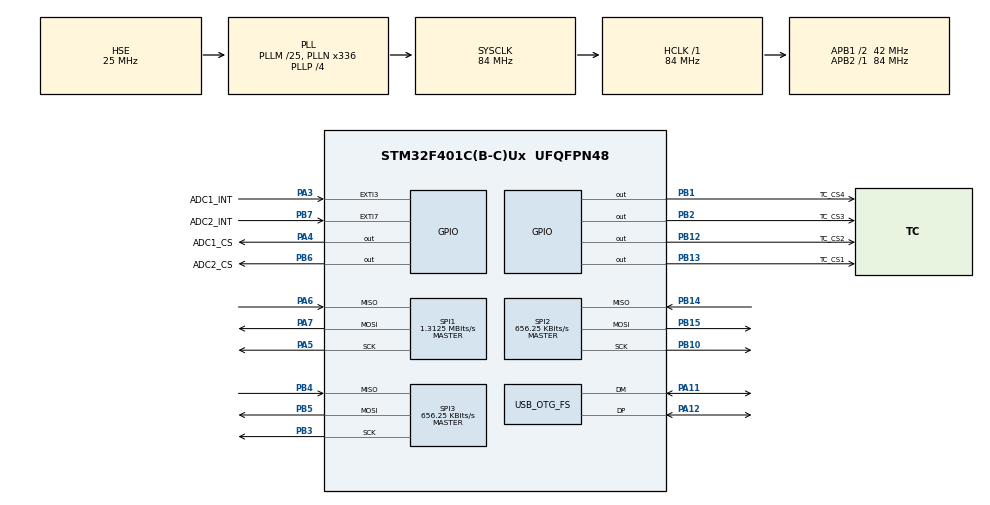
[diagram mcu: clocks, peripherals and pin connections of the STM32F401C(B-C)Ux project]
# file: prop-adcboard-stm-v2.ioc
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Dma.Request0=SPI3_RX
Dma.Request1=SPI3_TX
Dma.Request2=SPI1_RX
Dma.Request3=SPI1_TX
Dma.SPI1_RX.2.Direction=DMA_PERIPH_TO_MEMORY
Dma.SPI1_RX.2.FIFOMode=DMA_FIFOMODE_DISABLE
Dma.SPI1_RX.2.Instance=DMA2_Stream0
Dma.SPI1_RX.2.MemDataAlignment=DMA_MDATAALIGN_BYTE
Dma.SPI1_RX.2.MemInc=DMA_MINC_ENABLE
Dma.SPI1_RX.2.Mode=DMA_NORMAL
Dma.SPI1_RX.2.PeriphDataAlignment=DMA_PDATAALIGN_BYTE
Dma.SPI1_RX.2.PeriphInc=DMA_PINC_DISABLE
Dma.SPI1_RX.2.Priority=DMA_PRIORITY_LOW
Dma.SPI1_TX.3.Direction=DMA_MEMORY_TO_PERIPH
Dma.SPI1_TX.3.FIFOMode=DMA_FIFOMODE_DISABLE
Dma.SPI1_TX.3.Instance=DMA2_Stream3
Dma.SPI1_TX.3.MemDataAlignment=DMA_MDATAALIGN_BYTE
Dma.SPI1_TX.3.MemInc=DMA_MINC_ENABLE
Dma.SPI1_TX.3.Mode=DMA_NORMAL
Dma.SPI1_TX.3.PeriphDataAlignment=DMA_PDATAALIGN_BYTE
Dma.SPI1_TX.3.PeriphInc=DMA_PINC_DISABLE
Dma.SPI1_TX.3.Priority=DMA_PRIORITY_LOW
Dma.SPI3_RX.0.Direction=DMA_PERIPH_TO_MEMORY
Dma.SPI3_RX.0.FIFOMode=DMA_FIFOMODE_DISABLE
Dma.SPI3_RX.0.Instance=DMA1_Stream0
Dma.SPI3_RX.0.MemDataAlignment=DMA_MDATAALIGN_BYTE
Dma.SPI3_RX.0.MemInc=DMA_MINC_ENABLE
Dma.SPI3_RX.0.Mode=DMA_NORMAL
Dma.SPI3_RX.0.PeriphDataAlignment=DMA_PDATAALIGN_BYTE
Dma.SPI3_RX.0.PeriphInc=DMA_PINC_DISABLE
Dma.SPI3_RX.0.Priority=DMA_PRIORITY_LOW
Dma.SPI3_TX.1.Direction=DMA_MEMORY_TO_PERIPH
Dma.SPI3_TX.1.FIFOMode=DMA_FIFOMODE_DISABLE
Dma.SPI3_TX.1.Instance=DMA1_Stream5
Dma.SPI3_TX.1.MemDataAlignment=DMA_MDATAALIGN_BYTE
Dma.SPI3_TX.1.MemInc=DMA_MINC_ENABLE
Dma.SPI3_TX.1.Mode=DMA_NORMAL
Dma.SPI3_TX.1.PeriphDataAlignment=DMA_PDATAALIGN_BYTE
Dma.SPI3_TX.1.PeriphInc=DMA_PINC_DISABLE
Dma.SPI3_TX.1.Priority=DMA_PRIORITY_LOW
Mcu.Family=STM32F4
Mcu.Name=STM32F401C(B-C)Ux
Mcu.Package=UFQFPN48
NVIC.DMA1_Stream0_IRQn=true\:0\:0\:false\:false\:true\:false\:true\:true
NVIC.DMA1_Stream5_IRQn=true\:0\:0\:false\:false\:true\:false\:true\:true
NVIC.DMA2_Stream0_IRQn=true\:0\:0\:false\:false\:true\:false\:true\:true
NVIC.DMA2_Stream3_IRQn=true\:0\:0\:false\:false\:true\:false\:true\:true
NVIC.EXTI3_IRQn=true\:0\:0\:false\:false\:true\:true\:true\:true
NVIC.EXTI9_5_IRQn=true\:0\:0\:false\:false\:true\:true\:true\:true
NVIC.OTG_FS_IRQn=true\:0\:0\:false\:false\:true\:false\:true\:true
NVIC.PriorityGroup=NVIC_PRIORITYGROUP_4
NVIC.SPI3_IRQn=true\:0\:0\:false\:false\:true\:true\:true\:true
PA11.Mode=Device_Only
PA11.Signal=USB_OTG_FS_DM
PA12.Mode=Device_Only
PA12.Signal=USB_OTG_FS_DP
PA13.Mode=Serial_Wire
PA13.Signal=SYS_JTMS-SWDIO
PA14.Mode=Serial_Wire
PA14.Signal=SYS_JTCK-SWCLK
PA3.GPIO_Label=ADC1_INT
PA3.GPIO_ModeDefaultEXTI=GPIO_MODE_IT_FALLING
PA3.GPIO_PuPd=GPIO_PULLUP
PA3.Signal=GPXTI3
PA4.GPIO_Label=ADC1_CS
PA4.Signal=GPIO_Output
PA5.Mode=Full_Duplex_Master
PA5.Signal=SPI1_SCK
PA6.Mode=Full_Duplex_Master
PA6.Signal=SPI1_MISO
PA7.Mode=Full_Duplex_Master
PA7.Signal=SPI1_MOSI
PB1.GPIO_Label=TC_CS4
PB1.GPIO_Speed=GPIO_SPEED_FREQ_VERY_HIGH
PB1.PinState=GPIO_PIN_SET
PB1.Signal=GPIO_Output
PB10.Mode=Full_Duplex_Master
PB10.Signal=SPI2_SCK
PB12.GPIO_Label=TC_CS2
PB12.Signal=GPIO_Output
PB13.GPIO_Label=TC_CS1
PB13.Signal=GPIO_Output
PB14.Mode=Full_Duplex_Master
PB14.Signal=SPI2_MISO
PB15.Mode=Full_Duplex_Master
PB15.Signal=SPI2_MOSI
PB2.GPIO_Label=TC_CS3
PB2.GPIO_Speed=GPIO_SPEED_FREQ_VERY_HIGH
PB2.PinState=GPIO_PIN_SET
PB2.Signal=GPIO_Output
PB3.GPIO_PuPd=GPIO_NOPULL
PB3.Mode=Full_Duplex_Master
PB3.Signal=SPI3_SCK
PB4.GPIO_PuPd=GPIO_PULLUP
PB4.Mode=Full_Duplex_Master
PB4.Signal=SPI3_MISO
PB5.Mode=Full_Duplex_Master
PB5.Signal=SPI3_MOSI
PB6.GPIO_Label=ADC2_CS
PB6.Signal=GPIO_Output
PB7.GPIO_Label=ADC2_INT
PB7.GPIO_ModeDefaultEXTI=GPIO_MODE_IT_FALLING
PB7.GPIO_PuPd=GPIO_PULLUP
PB7.Signal=GPXTI7
PC14-OSC32_IN.Mode=LSE-External-Oscillator
PC14-OSC32_IN.Signal=RCC_OSC32_IN
PC15-OSC32_OUT.Mode=LSE-External-Oscillator
PC15-OSC32_OUT.Signal=RCC_OSC32_OUT
PH0\ -\ OSC_IN.Mode=HSE-External-Oscillator
PH0\ -\ OSC_IN.Signal=RCC_OSC_IN
PH1\ -\ OSC_OUT.Mode=HSE-External-Oscillator
PH1\ -\ OSC_OUT.Signal=RCC_OSC_OUT
ProjectManager.HeapSize=0x200
ProjectManager.StackSize=0x400
ProjectManager.TargetToolchain=STM32CubeIDE
RCC.48MHZClocksFreq_Value=48000000
RCC.AHBFreq_Value=84000000
RCC.APB1CLKDivider=RCC_HCLK_DIV2
RCC.APB1Freq_Value=42000000
RCC.APB1TimFreq_Value=84000000
RCC.APB2Freq_Value=84000000
RCC.APB2TimFreq_Value=84000000
RCC.CortexFreq_Value=84000000
RCC.HCLKFreq_Value=84000000
RCC.HSE_VALUE=25000000
RCC.HSI_VALUE=16000000
RCC.PLLM=25
RCC.PLLN=336
RCC.PLLP=RCC_PLLP_DIV4
RCC.PLLQ=7
RCC.SYSCLKFreq_VALUE=84000000
RCC.SYSCLKSource=RCC_SYSCLKSOURCE_PLLCLK
RCC.VCOOutputFreq_Value=336000000
SPI1.BaudRatePrescaler=SPI_BAUDRATEPRESCALER_64
SPI1.CalculateBaudRate=1.3125 MBits/s
SPI1.Direction=SPI_DIRECTION_2LINES
SPI1.Mode=SPI_MODE_MASTER
SPI1.VirtualType=VM_MASTER
SPI2.BaudRatePrescaler=SPI_BAUDRATEPRESCALER_64
SPI2.CalculateBaudRate=656.25 KBits/s
SPI2.Direction=SPI_DIRECTION_2LINES
SPI2.Mode=SPI_MODE_MASTER
SPI2.VirtualType=VM_MASTER
SPI3.BaudRatePrescaler=SPI_BAUDRATEPRESCALER_64
SPI3.CLKPolarity=SPI_POLARITY_LOW
SPI3.CalculateBaudRate=656.25 KBits/s
SPI3.Direction=SPI_DIRECTION_2LINES
SPI3.Mode=SPI_MODE_MASTER
SPI3.VirtualType=VM_MASTER
USB_DEVICE.CLASS_NAME_FS=CDC
USB_DEVICE.VirtualMode=Cdc
USB_DEVICE.VirtualModeFS=Cdc_FS
USB_OTG_FS.VirtualMode=Device_Only
VP_USB_DEVICE_VS_USB_DEVICE_CDC_FS.Mode=CDC_FS
board=custom

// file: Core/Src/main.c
/* USER CODE BEGIN Header */
/**
 ******************************************************************************
 * @file           : main.c
 * @brief          : Main program body
 ******************************************************************************
 * @attention
 *
 * Copyright (c) 2022 STMicroelectronics.
 * All rights reserved.
 *
 * This software is licensed under terms that can be found in the LICENSE file
 * in the root directory of this software component.
 * If no LICENSE file comes with this software, it is provided AS-IS.
 *
 ******************************************************************************
 */
/* USER CODE END Header */
#include "main.h"

#include "usb_device.h"

/* USER CODE BEGIN Includes */

#include "adc_mcp3564.h"
#include "errno.h"
#include "math.h"
#include "temp_max31855.h"

/* USER CODE END Includes */

SPI_HandleTypeDef hspi1;
SPI_HandleTypeDef hspi2;
SPI_HandleTypeDef hspi3;

void SystemClock_Config(void);
static void MX_GPIO_Init(void);
static void MX_SPI1_Init(void);
static void MX_SPI2_Init(void);
static void MX_SPI3_Init(void);

int main(void) {

  /* MCU Configuration--------------------------------------------------------*/

  /* Reset of all peripherals, Initializes the Flash interface and the Systick.
   */
  HAL_Init();

  /* Configure the system clock */
  SystemClock_Config();

  /* Initialize all configured peripherals */
  MX_GPIO_Init();
  MX_SPI1_Init();
  MX_USB_DEVICE_Init();
  MX_SPI2_Init();
  MX_SPI3_Init();
  /* USER CODE BEGIN 2 */

  TempMax31855Ctrl_s tc_readers[4] = {0};

  tempMax31855_init(&tc_readers[0], &hspi2, TC_CS1_GPIO_Port, TC_CS1_Pin);
  tempMax31855_init(&tc_readers[1], &hspi2, TC_CS2_GPIO_Port, TC_CS2_Pin);
  tempMax31855_init(&tc_readers[2], &hspi2, TC_CS3_GPIO_Port, TC_CS3_Pin);
  tempMax31855_init(&tc_readers[3], &hspi2, TC_CS4_GPIO_Port, TC_CS4_Pin);

  // SPI3 = ADC2
  // ADC2 has physical channels IN0 through IN7 on pins AIN0 through AIN7

  // SPI1 = ADC1
  // ADC1 has physical channels IN8 through IN15 on pins AIN0 through AIN7

  AdcMcp3564Ctrl_s adc;
  mcp3564_init(&adc, &hspi3, ADC2_CS_GPIO_Port, ADC2_CS_Pin, ADC2_INT_GPIO_Port,
               ADC2_INT_Pin);
  // mcp3564_init(&adc, &hspi1, ADC1_CS_GPIO_Port, ADC1_CS_Pin,
  //  ADC1_INT_GPIO_Port, ADC1_INT_Pin);

  /* USER CODE END 2 */

  /* Infinite loop */
  while (1) {

    /* USER CODE BEGIN 3 */

    //    for (int i = 0; i < 4; i++) {
    //      TempMax31855Ctrl_s *it = tc_readers + i;
    //      tempMax31855_read(it);
    //      printf("TC %i temp: %i internal: %i faults %u\n", i,
    //             (int)it->data.thermocoupleTemp, (int)it->data.internalTemp,
    //             (unsigned int)it->data.faultFlags);
    //    }

    for (int i = 0; i < 8; i++) {
      mcp356x_channel_setup(&adc, MUX_CH0 + i, MUX_AGND);

      int ec_fetch;
      uint32_t start = HAL_GetTick();
      do {
        ec_fetch = mcp356x_read(&adc);
      } while (ec_fetch == -EBUSY && (HAL_GetTick() - start) < 5);

      if (!ec_fetch) {
        static const int fullscale = pow(2, 23);
        printf("%lu, %i, %f\n", HAL_GetTick(), i,
               (float)adc.result / fullscale * 25400 / 15400 * 3.3);
      }
    }

    //    HAL_Delay(0);
  }
  /* USER CODE END 3 */
}

void SystemClock_Config(void) {
  RCC_OscInitTypeDef RCC_OscInitStruct = {0};
  RCC_ClkInitTypeDef RCC_ClkInitStruct = {0};

  /** Configure the main internal regulator output voltage
   */
  __HAL_RCC_PWR_CLK_ENABLE();
  __HAL_PWR_VOLTAGESCALING_CONFIG(PWR_REGULATOR_VOLTAGE_SCALE2);

  /** Initializes the RCC Oscillators according to the specified parameters
   * in the RCC_OscInitTypeDef structure.
   */
  RCC_OscInitStruct.OscillatorType = RCC_OSCILLATORTYPE_HSE;
  RCC_OscInitStruct.HSEState = RCC_HSE_ON;
  RCC_OscInitStruct.PLL.PLLState = RCC_PLL_ON;
  RCC_OscInitStruct.PLL.PLLSource = RCC_PLLSOURCE_HSE;
  RCC_OscInitStruct.PLL.PLLM = 25;
  RCC_OscInitStruct.PLL.PLLN = 336;
  RCC_OscInitStruct.PLL.PLLP = RCC_PLLP_DIV4;
  RCC_OscInitStruct.PLL.PLLQ = 7;
  if (HAL_RCC_OscConfig(&RCC_OscInitStruct) != HAL_OK) {
    Error_Handler();
  }

  /** Initializes the CPU, AHB and APB buses clocks
   */
  RCC_ClkInitStruct.ClockType = RCC_CLOCKTYPE_HCLK | RCC_CLOCKTYPE_SYSCLK |
                                RCC_CLOCKTYPE_PCLK1 | RCC_CLOCKTYPE_PCLK2;
  RCC_ClkInitStruct.SYSCLKSource = RCC_SYSCLKSOURCE_PLLCLK;
  RCC_ClkInitStruct.AHBCLKDivider = RCC_SYSCLK_DIV1;
  RCC_ClkInitStruct.APB1CLKDivider = RCC_HCLK_DIV2;
  RCC_ClkInitStruct.APB2CLKDivider = RCC_HCLK_DIV1;

  if (HAL_RCC_ClockConfig(&RCC_ClkInitStruct, FLASH_LATENCY_2) != HAL_OK) {
    Error_Handler();
  }
}

static void MX_SPI1_Init(void) {

  /* SPI1 parameter configuration*/
  hspi1.Instance = SPI1;
  hspi1.Init.Mode = SPI_MODE_MASTER;
  hspi1.Init.Direction = SPI_DIRECTION_2LINES;
  hspi1.Init.DataSize = SPI_DATASIZE_8BIT;
  hspi1.Init.CLKPolarity = SPI_POLARITY_LOW;
  hspi1.Init.CLKPhase = SPI_PHASE_1EDGE;
  hspi1.Init.NSS = SPI_NSS_SOFT;
  hspi1.Init.BaudRatePrescaler = SPI_BAUDRATEPRESCALER_16;
  hspi1.Init.FirstBit = SPI_FIRSTBIT_MSB;
  hspi1.Init.TIMode = SPI_TIMODE_DISABLE;
  hspi1.Init.CRCCalculation = SPI_CRCCALCULATION_DISABLE;
  hspi1.Init.CRCPolynomial = 10;
  if (HAL_SPI_Init(&hspi1) != HAL_OK) {
    Error_Handler();
  }
}

static void MX_SPI2_Init(void) {

  /* SPI2 parameter configuration*/
  hspi2.Instance = SPI2;
  hspi2.Init.Mode = SPI_MODE_MASTER;
  hspi2.Init.Direction = SPI_DIRECTION_2LINES;
  hspi2.Init.DataSize = SPI_DATASIZE_8BIT;
  hspi2.Init.CLKPolarity = SPI_POLARITY_LOW;
  hspi2.Init.CLKPhase = SPI_PHASE_1EDGE;
  hspi2.Init.NSS = SPI_NSS_SOFT;
  hspi2.Init.BaudRatePrescaler = SPI_BAUDRATEPRESCALER_64;
  hspi2.Init.FirstBit = SPI_FIRSTBIT_MSB;
  hspi2.Init.TIMode = SPI_TIMODE_DISABLE;
  hspi2.Init.CRCCalculation = SPI_CRCCALCULATION_DISABLE;
  hspi2.Init.CRCPolynomial = 10;
  if (HAL_SPI_Init(&hspi2) != HAL_OK) {
    Error_Handler();
  }
}

static void MX_SPI3_Init(void) {

  /* SPI3 parameter configuration*/
  hspi3.Instance = SPI3;
  hspi3.Init.Mode = SPI_MODE_MASTER;
  hspi3.Init.Direction = SPI_DIRECTION_2LINES;
  hspi3.Init.DataSize = SPI_DATASIZE_8BIT;
  hspi3.Init.CLKPolarity = SPI_POLARITY_LOW;
  hspi3.Init.CLKPhase = SPI_PHASE_1EDGE;
  hspi3.Init.NSS = SPI_NSS_SOFT;
  hspi3.Init.BaudRatePrescaler = SPI_BAUDRATEPRESCALER_8;
  hspi3.Init.FirstBit = SPI_FIRSTBIT_MSB;
  hspi3.Init.TIMode = SPI_TIMODE_DISABLE;
  hspi3.Init.CRCCalculation = SPI_CRCCALCULATION_DISABLE;
  hspi3.Init.CRCPolynomial = 10;
  if (HAL_SPI_Init(&hspi3) != HAL_OK) {
    Error_Handler();
  }
}

static void MX_GPIO_Init(void) {
  GPIO_InitTypeDef GPIO_InitStruct = {0};

  /* GPIO Ports Clock Enable */
  __HAL_RCC_GPIOC_CLK_ENABLE();
  __HAL_RCC_GPIOH_CLK_ENABLE();
  __HAL_RCC_GPIOA_CLK_ENABLE();
  __HAL_RCC_GPIOB_CLK_ENABLE();

  /*Configure GPIO pin Output Level */
  HAL_GPIO_WritePin(ADC1_CS_GPIO_Port, ADC1_CS_Pin, GPIO_PIN_RESET);

  /*Configure GPIO pin Output Level */
  HAL_GPIO_WritePin(GPIOB, TC_CS4_Pin | TC_CS3_Pin, GPIO_PIN_SET);

  /*Configure GPIO pin Output Level */
  HAL_GPIO_WritePin(GPIOB, TC_CS2_Pin | TC_CS1_Pin | ADC2_CS_Pin,
                    GPIO_PIN_RESET);

  /*Configure GPIO pin : ADC1_INT_Pin */
  GPIO_InitStruct.Pin = ADC1_INT_Pin;
  GPIO_InitStruct.Mode = GPIO_MODE_IT_RISING;
  GPIO_InitStruct.Pull = GPIO_NOPULL;
  HAL_GPIO_Init(ADC1_INT_GPIO_Port, &GPIO_InitStruct);

  /*Configure GPIO pin : ADC1_CS_Pin */
  GPIO_InitStruct.Pin = ADC1_CS_Pin;
  GPIO_InitStruct.Mode = GPIO_MODE_OUTPUT_PP;
  GPIO_InitStruct.Pull = GPIO_NOPULL;
  GPIO_InitStruct.Speed = GPIO_SPEED_FREQ_LOW;
  HAL_GPIO_Init(ADC1_CS_GPIO_Port, &GPIO_InitStruct);

  /*Configure GPIO pins : TC_CS4_Pin TC_CS3_Pin */
  GPIO_InitStruct.Pin = TC_CS4_Pin | TC_CS3_Pin;
  GPIO_InitStruct.Mode = GPIO_MODE_OUTPUT_PP;
  GPIO_InitStruct.Pull = GPIO_NOPULL;
  GPIO_InitStruct.Speed = GPIO_SPEED_FREQ_VERY_HIGH;
  HAL_GPIO_Init(GPIOB, &GPIO_InitStruct);

  /*Configure GPIO pins : TC_CS2_Pin TC_CS1_Pin ADC2_CS_Pin */
  GPIO_InitStruct.Pin = TC_CS2_Pin | TC_CS1_Pin | ADC2_CS_Pin;
  GPIO_InitStruct.Mode = GPIO_MODE_OUTPUT_PP;
  GPIO_InitStruct.Pull = GPIO_NOPULL;
  GPIO_InitStruct.Speed = GPIO_SPEED_FREQ_LOW;
  HAL_GPIO_Init(GPIOB, &GPIO_InitStruct);

  /*Configure GPIO pin : ADC2_INT_Pin */
  GPIO_InitStruct.Pin = ADC2_INT_Pin;
  GPIO_InitStruct.Mode = GPIO_MODE_IT_RISING;
  GPIO_InitStruct.Pull = GPIO_NOPULL;
  HAL_GPIO_Init(ADC2_INT_GPIO_Port, &GPIO_InitStruct);
}

void Error_Handler(void) {
  __disable_irq();
  while (1) {
  }
}

#ifdef USE_FULL_ASSERT
/**
 * @brief  Reports the name of the source file and the source line number
 *         where the assert_param error has occurred.
 * @param  file: pointer to the source file name
 * @param  line: assert_param error line source number
 * @retval None
 */
void assert_failed(uint8_t *file, uint32_t line) {
  /* USER CODE BEGIN 6 */
  /* User can add his own implementation to report the file name and line
     number, ex: printf("Wrong parameters value: file %s on line %d\r\n", file,
     line) */
  /* USER CODE END 6 */
}
#endif /* USE_FULL_ASSERT */
